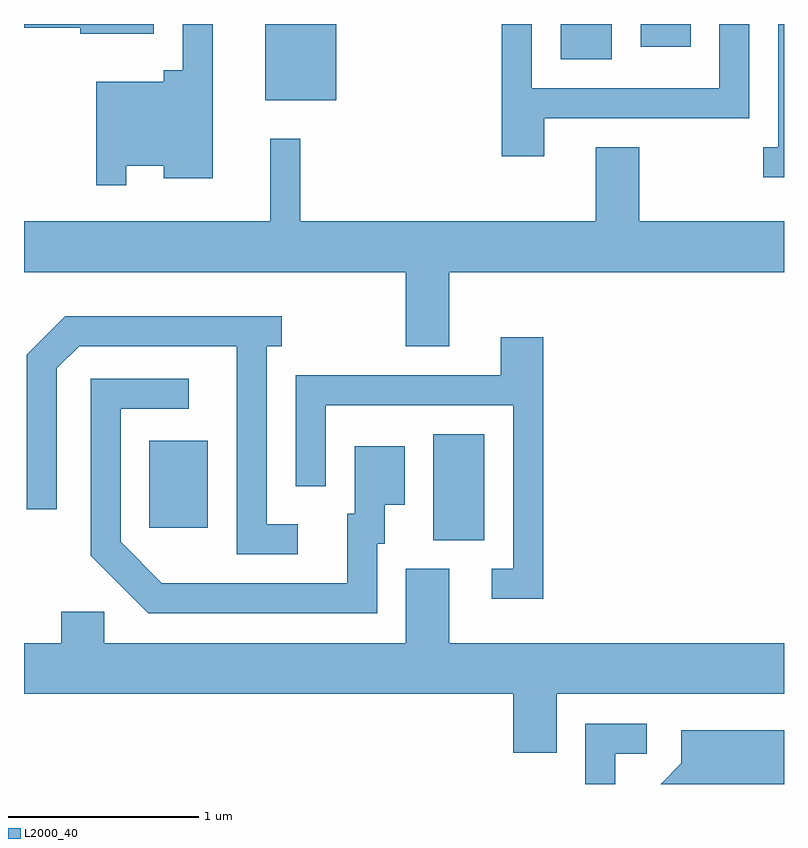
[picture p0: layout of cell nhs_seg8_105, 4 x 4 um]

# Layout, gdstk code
import gdstk
lib = gdstk.Library(unit=1e-6, precision=1e-09)
def R(c, l, rs):  # rectangles x0, y0, x1, y1
    for r in rs: c.add(gdstk.rectangle(r[:2], r[2:], *l))
def P(c, l, *ps):  # polygons
    for p in ps: c.add(gdstk.Polygon(p, *l))
L2000_40 = (2000, 40)

nhs_seg8_105 = lib.new_cell('nhs_seg8_105')
R(nhs_seg8_105, L2000_40, [(189.766,1881.626,190.034,1882.184), (188.271,1881.691,188.579,1882.149), (188.881,1883.941,189.254,1884.342), (190.436,1884.156,190.704,1884.342), (190.856,1884.221,191.119,1884.342)])
P(nhs_seg8_105, L2000_40, [(188.149,1883.596),(188.346,1883.596),(188.346,1883.531),(188.604,1883.531),(188.604,1884.342),(188.446,1884.342),(188.446,1884.099),(188.346,1884.099),(188.346,1884.039),(187.991,1884.039),(187.991,1883.493),(188.149,1883.493)],
  [(190.349,1883.846),(191.429,1883.846),(191.429,1884.342),(191.271,1884.342),(191.271,1884.004),(190.284,1884.004),(190.284,1884.342),(190.126,1884.342),(190.126,1883.646),(190.349,1883.646)],
  [(191.611,1884.342),(191.581,1884.342),(191.581,1883.694),(191.503,1883.694),(191.503,1883.536),(191.611,1883.536)],
  [(188.294,1884.342),(187.611,1884.342),(187.611,1884.321),(187.906,1884.321),(187.906,1884.291),(188.294,1884.291)],
  [(189.849,1883.036),(191.611,1883.036),(191.611,1883.304),(190.849,1883.304),(190.849,1883.694),(190.621,1883.694),(190.621,1883.304),(189.064,1883.304),(189.064,1883.738),(188.906,1883.738),(188.906,1883.304),(187.611,1883.304),(187.611,1883.036),(189.621,1883.036),(189.621,1882.646),(189.849,1882.646)],
  [(189.053,1881.709),(188.889,1881.709),(188.889,1882.646),(188.968,1882.646),(188.968,1882.804),(187.829,1882.804),(187.626,1882.602),(187.626,1881.788),(187.784,1881.788),(187.784,1882.529),(187.902,1882.646),(188.731,1882.646),(188.731,1881.551),(189.053,1881.551)],
  [(190.344,1882.694),(190.121,1882.694),(190.121,1882.494),(189.041,1882.494),(189.041,1881.908),(189.199,1881.908),(189.199,1882.336),(190.186,1882.336),(190.186,1881.474),(190.073,1881.474),(190.073,1881.316),(190.344,1881.316)],
  [(189.469,1881.606),(189.509,1881.606),(189.509,1881.811),(189.614,1881.811),(189.614,1882.119),(189.351,1882.119),(189.351,1881.764),(189.311,1881.764),(189.311,1881.399),(188.337,1881.399),(188.119,1881.617),(188.119,1882.316),(188.478,1882.316),(188.478,1882.474),(187.961,1882.474),(187.961,1881.544),(188.264,1881.241),(189.469,1881.241)],
  [(190.414,1880.816),(191.611,1880.816),(191.611,1881.084),(189.849,1881.084),(189.849,1881.474),(189.621,1881.474),(189.621,1881.084),(188.034,1881.084),(188.034,1881.249),(187.806,1881.249),(187.806,1881.084),(187.611,1881.084),(187.611,1880.816),(190.186,1880.816),(190.186,1880.506),(190.414,1880.506)],
  [(190.724,1880.501),(190.888,1880.501),(190.888,1880.659),(190.566,1880.659),(190.566,1880.342),(190.724,1880.342)],
  [(191.611,1880.624),(191.071,1880.624),(191.071,1880.452),(190.961,1880.342),(191.611,1880.342)])

lib.write_gds('nhs_seg8_105.gds')
